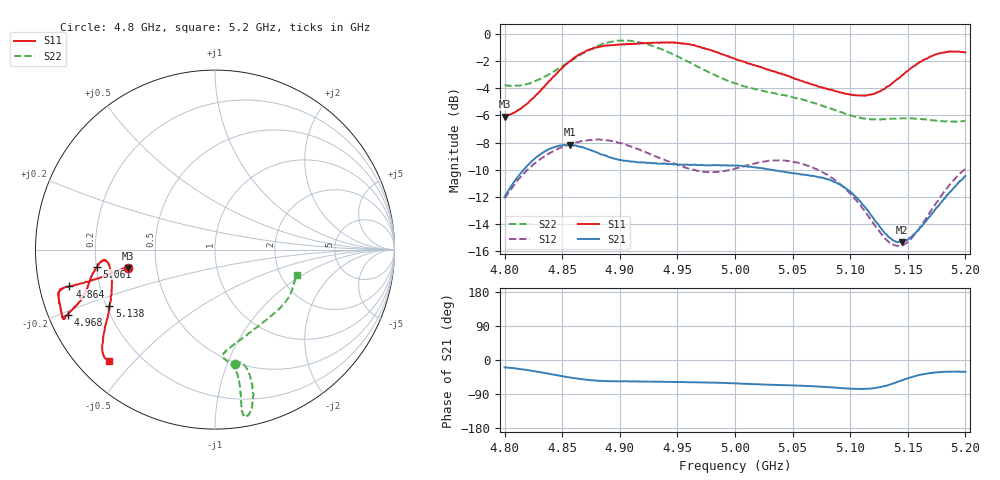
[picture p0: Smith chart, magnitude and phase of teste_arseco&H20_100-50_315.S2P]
! Network Analyzer HP8722D
! Hewlett-Packard
! Data name: Linha & Wilkinson
! Saver's name: Rodrigo Anjos
! Comments: Teste da utilização de aquisição
! continua pelo VNA HP8722D
! Time and date: 6/5/2025 15:11
!  Frequency  S11  S21  S12  S22
# HZ  S  MA R 50
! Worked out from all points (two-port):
!   401 points, 4.8 GHz to 5.2 GHz, reference 50 ohm
!   highest |S21| = -8.16 dB at 4.857 GHz (marker M1); lowest = -15.3 dB at 5.145 GHz (marker M2)
!   |S21| within 3 dB of the highest: 4.806 GHz to 5.093 GHz (286.5 MHz wide, 5.79 % of centre); 5.191883 GHz to end of sweep
!   lowest |S11| = -6.1 dB at 4.8 GHz (marker M3), VSWR 2.97, Z = 17 - j4.59 ohm
!   |S11| at or under -10 dB: nowhere
!   |S22| runs from -6.5 to -0.5 dB; largest |S21 - S12| = 0.62
!   S11 on the Smith chart (normalised r, x): 4.8 GHz: 0.34, -0.09; 4.864 GHz: 0.09, -0.12; 4.968 GHz: 0.06, -0.21; 5.061 GHz: 0.20, -0.07; 5.138 GHz: 0.21, -0.24; 5.2 GHz: 0.09, -0.43
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4.8e9  0.4964 -168.2  0.2515 -19.5  0.2484 -140.7  0.6475 -80.3
4.828e9  0.5995 -167.0  0.3531 -30.4  0.3382 -144.7  0.674 -75.4
4.857e9  0.7954 -165.9  0.3909 -46.4  0.3927 -150.2  0.7923 -74.7
4.864e9  0.8365 -165.8  0.3861 -49.4  0.4002 -151.4  0.8277 -75.2
4.867e9  0.8486 -165.7  0.3842 -50.7  0.4032 -151.9  0.8427 -75.3
4.88e9  0.8918 -165.5  0.3661 -54.6  0.4084 -154.1  0.8981 -76.6
4.899e9  0.9118 -162.8  0.3438 -56.4  0.3974 -156.6  0.9439 -79.1
4.914e9  0.9182 -159.8  0.3378 -56.5  0.3792 -157.1  0.9373 -80.2
4.934e9  0.9262 -156.4  0.3328 -57.4  0.3512 -155.6  0.8834 -80.5
4.968e9  0.8974 -156.2  0.3286 -59.1  0.3136 -147.5  0.7558 -79.6
5e9  0.8095 -158.9  0.3277 -61.8  0.3196 -137.1  0.657 -81.2
5.036e9  0.7224 -165.6  0.3139 -65.9  0.3422 -134.3  0.6023 -85.6
5.061e9  0.6636 -171.8  0.3034 -68.3  0.3298 -136.2  0.5703 -84.1
5.067e9  0.6509 -173.2  0.3008 -69.2  0.3232 -136.7  0.5588 -82.6
5.083e9  0.6219 -174.4  0.289 -72.2  0.2972 -138.1  0.5315 -76.8
5.101e9  0.5982 -172.0  0.2606 -75.7  0.2559 -138.7  0.5007 -66.5
5.116e9  0.5957 -165.6  0.2218 -75.8  0.2128 -135.5  0.4853 -55.6
5.134e9  0.6432 -154.2  0.1782 -65.2  0.1708 -120.8  0.4859 -43.3
5.138e9  0.6661 -152.0  0.1734 -61.2  0.1673 -115.5  0.487 -40.8
5.145e9  0.7022 -148.1  0.1713 -53.4  0.1669 -106.1  0.4888 -37.0
5.175e9  0.8409 -138.3  0.2296 -32.7  0.2395 -79.9  0.4789 -23.4
5.2e9  0.8538 -133.6  0.3002 -31.2  0.3188 -76.8  0.478 -17.6
